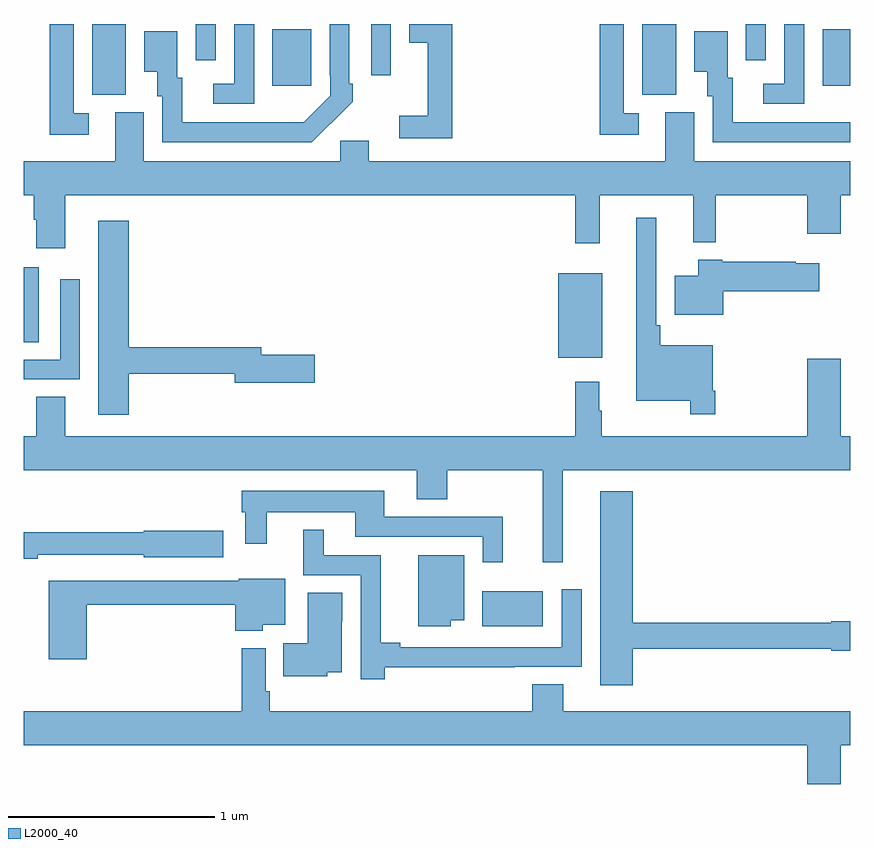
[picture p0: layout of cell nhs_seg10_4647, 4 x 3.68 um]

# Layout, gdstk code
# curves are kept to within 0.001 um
import gdstk
lib = gdstk.Library(unit=1e-6, precision=1e-09)
def R(c, l, rs):  # rectangles x0, y0, x1, y1
    for r in rs: c.add(gdstk.rectangle(r[:2], r[2:], *l))
def P(c, l, *ps):  # polygons
    for p in ps: c.add(gdstk.Polygon(p, *l))
L2000_40 = (2000, 40)

nhs_seg10_4647 = lib.new_cell('nhs_seg10_4647')
R(nhs_seg10_4647, L2000_40, [(379.22,1275.584,379.513,1275.754), (379.586,1276.883,379.801,1277.293), (377,1276.96,377.071,1277.323), (377.33,1278.157,377.494,1278.5), (379.994,1278.157,380.158,1278.5), (378.203,1278.201,378.391,1278.475), (380.867,1278.201,381,1278.475), (378.681,1278.252,378.777,1278.5), (377.832,1278.324,377.928,1278.5), (380.496,1278.324,380.592,1278.5)])
P(nhs_seg10_4647, L2000_40, [(379.073,1278.5),(378.866,1278.5),(378.866,1278.41),(378.956,1278.41),(378.956,1278.055),(378.816,1278.055),(378.816,1277.946),(379.073,1277.946)],
  [(378.485,1278.019),(378.486,1278.018),(378.591,1278.123),(378.591,1278.211),(378.576,1278.211),(378.576,1278.5),(378.48,1278.5),(378.48,1278.253),(378.483,1278.253),(378.483,1278.153),(378.355,1278.025),(377.767,1278.024),(377.767,1278.24),(377.743,1278.24),(377.743,1278.466),(377.582,1278.466),(377.582,1278.269),(377.645,1278.269),(377.645,1278.15),(377.67,1278.15),(377.67,1277.928),(378.394,1277.928)],
  [(380.778,1278.5),(380.682,1278.5),(380.682,1278.21),(380.58,1278.21),(380.58,1278.114),(380.778,1278.114)],
  [(378.114,1278.5),(378.018,1278.5),(378.018,1278.21),(377.916,1278.21),(377.916,1278.114),(378.114,1278.114)],
  [(379.978,1278.069),(379.905,1278.069),(379.905,1278.5),(379.789,1278.5),(379.789,1277.964),(379.978,1277.964)],
  [(377.314,1278.069),(377.241,1278.069),(377.241,1278.5),(377.125,1278.5),(377.125,1277.964),(377.314,1277.964)],
  [(381,1278.025),(380.915,1278.025),(380.915,1278.024),(380.431,1278.024),(380.431,1278.24),(380.407,1278.24),(380.407,1278.466),(380.246,1278.466),(380.246,1278.269),(380.309,1278.269),(380.309,1278.15),(380.334,1278.15),(380.334,1277.928),(381,1277.928)],
  [(380.105,1277.836),(378.67,1277.836),(378.67,1277.934),(378.531,1277.934),(378.531,1277.836),(377.581,1277.836),(377.581,1278.072),(377.441,1278.072),(377.441,1277.836),(377,1277.836),(377,1277.672),(377.048,1277.672),(377.048,1277.552),(377.06,1277.552),(377.06,1277.415),(377.2,1277.415),(377.2,1277.672),(379.669,1277.672),(379.669,1277.439),(379.787,1277.439),(379.787,1277.672),(380.24,1277.672),(380.24,1277.444),(380.35,1277.444),(380.35,1277.672),(380.792,1277.672),(380.792,1277.484),(380.956,1277.484),(380.956,1277.672),(381,1277.672),(381,1277.836),(380.245,1277.836),(380.245,1278.072),(380.105,1278.072)],
  [(380.347,1276.723),(380.334,1276.723),(380.334,1276.945),(380.081,1276.945),(380.081,1277.041),(380.061,1277.041),(380.061,1277.563),(379.964,1277.563),(379.964,1276.676),(380.226,1276.676),(380.226,1276.611),(380.347,1276.611)],
  [(377.507,1276.806),(378.02,1276.806),(378.02,1276.763),(378.409,1276.763),(378.409,1276.898),(378.148,1276.898),(378.148,1276.934),(377.507,1276.934),(377.507,1277.548),(377.36,1277.548),(377.36,1276.608),(377.507,1276.608)],
  [(380.386,1277.207),(380.851,1277.207),(380.851,1277.341),(380.738,1277.341),(380.738,1277.349),(380.382,1277.349),(380.382,1277.359),(380.264,1277.359),(380.264,1277.281),(380.15,1277.281),(380.15,1277.093),(380.386,1277.093)],
  [(377.271,1277.263),(377.175,1277.263),(377.175,1276.875),(377,1276.875),(377,1276.779),(377.271,1276.779)],
  [(379.61,1276.34),(381,1276.34),(381,1276.504),(380.956,1276.504),(380.956,1276.879),(380.792,1276.879),(380.792,1276.504),(379.798,1276.504),(379.798,1276.628),(379.786,1276.628),(379.786,1276.768),(379.669,1276.768),(379.669,1276.504),(377.2,1276.504),(377.2,1276.694),(377.06,1276.694),(377.06,1276.504),(377,1276.504),(377,1276.34),(378.902,1276.34),(378.902,1276.198),(379.05,1276.198),(379.05,1276.34),(379.511,1276.34),(379.511,1275.894),(379.61,1275.894)],
  [(379.319,1276.113),(378.745,1276.113),(378.745,1276.24),(378.054,1276.24),(378.054,1276.135),(378.071,1276.135),(378.071,1275.984),(378.175,1275.984),(378.175,1276.136),(378.605,1276.136),(378.605,1276.017),(379.221,1276.017),(379.221,1275.894),(379.319,1275.894)],
  [(379.949,1275.474),(380.91,1275.474),(380.91,1275.466),(381,1275.466),(381,1275.608),(380.91,1275.608),(380.91,1275.602),(379.949,1275.602),(379.949,1276.237),(379.79,1276.237),(379.79,1275.297),(379.949,1275.297)],
  [(378.746,1275.386),(379.376,1275.386),(379.376,1275.387),(379.701,1275.387),(379.701,1275.763),(379.605,1275.763),(379.605,1275.483),(378.823,1275.483),(378.823,1275.503),(378.728,1275.503),(378.728,1275.927),(378.451,1275.927),(378.451,1276.051),(378.353,1276.051),(378.353,1275.831),(378.63,1275.831),(378.63,1275.327),(378.746,1275.327)],
  [(377.066,1275.93),(377.58,1275.93),(377.58,1275.917),(377.965,1275.917),(377.965,1276.047),(377.58,1276.047),(377.58,1276.039),(377,1276.039),(377,1275.91),(377.066,1275.91)],
  [(379.066,1275.614),(379.132,1275.614),(379.132,1275.928),(378.908,1275.928),(378.908,1275.584),(379.066,1275.584)],
  [(377.303,1275.688),(378.023,1275.688),(378.023,1275.563),(378.156,1275.563),(378.156,1275.59),(378.265,1275.59),(378.265,1275.814),(378.039,1275.814),(378.039,1275.804),(377.12,1275.804),(377.12,1275.423),(377.303,1275.423)],
  [(378.468,1275.362),(378.538,1275.362),(378.538,1275.606),(378.541,1275.606),(378.541,1275.746),(378.374,1275.746),(378.374,1275.502),(378.256,1275.502),(378.256,1275.341),(378.468,1275.341)],
  [(380.956,1275.008),(381,1275.008),(381,1275.172),(379.612,1275.172),(379.612,1275.302),(379.46,1275.302),(379.46,1275.172),(378.191,1275.172),(378.191,1275.268),(378.171,1275.268),(378.171,1275.478),(378.055,1275.478),(378.055,1275.172),(377,1275.172),(377,1275.008),(380.792,1275.008),(380.792,1274.82),(380.956,1274.82)])

lib.write_gds('nhs_seg10_4647.gds')
